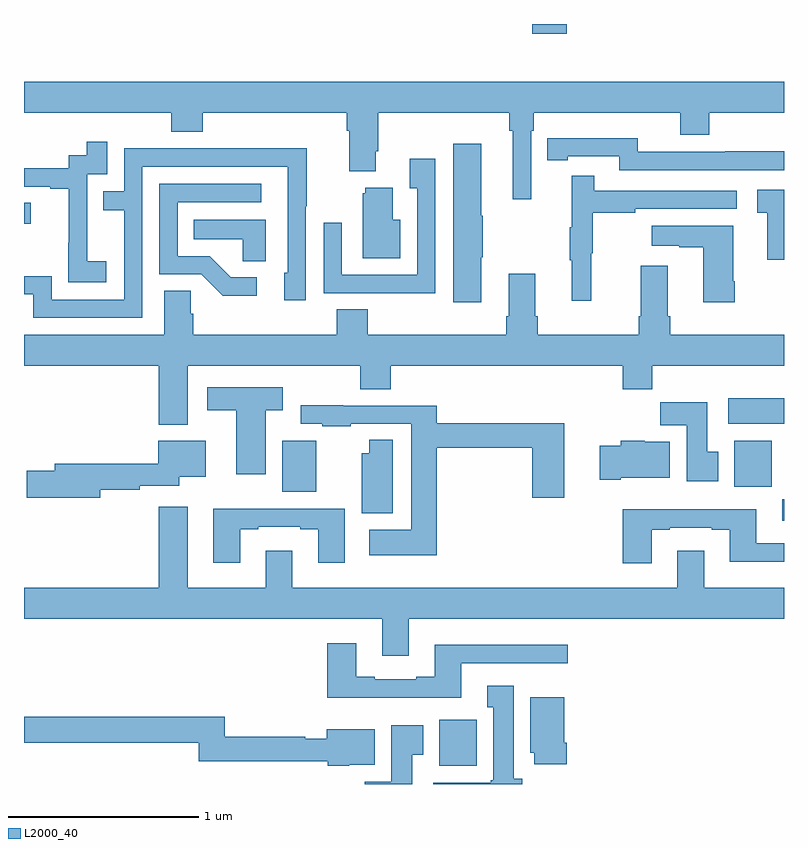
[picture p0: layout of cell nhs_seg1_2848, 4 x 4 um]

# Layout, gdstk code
import gdstk
lib = gdstk.Library(unit=1e-6, precision=1e-09)
def R(c, l, rs):  # rectangles x0, y0, x1, y1
    for r in rs: c.add(gdstk.rectangle(r[:2], r[2:], *l))
def P(c, l, *ps):  # polygons
    for p in ps: c.add(gdstk.Polygon(p, *l))
L2000_40 = (2000, 40)

nhs_seg1_2848 = lib.new_cell('nhs_seg1_2848')
R(nhs_seg1_2848, L2000_40, [(267.185,548.294,267.382,548.536), (268.991,549.585,269,549.698), (266.36,549.737,266.539,550.006), (268.739,549.764,268.936,550.006), (268.707,550.094,269,550.228), (265,551.147,265.036,551.257), (267.674,552.147,267.857,552.199)])
P(nhs_seg1_2848, L2000_40, [(267.669,551.636),(267.683,551.636),(267.683,551.732),(268.454,551.732),(268.454,551.615),(268.607,551.615),(268.607,551.732),(269,551.732),(269,551.896),(265,551.896),(265,551.732),(265.775,551.732),(265.775,551.633),(265.94,551.633),(265.94,551.732),(266.699,551.732),(266.699,551.636),(266.711,551.636),(266.711,551.423),(266.851,551.423),(266.851,551.53),(266.864,551.53),(266.864,551.732),(267.553,551.732),(267.553,551.636),(267.572,551.636),(267.572,551.277),(267.669,551.277)],
  [(269,551.528),(268.69,551.528),(268.69,551.526),(268.23,551.526),(268.23,551.599),(267.862,551.599),(267.862,551.598),(267.754,551.598),(267.754,551.482),(267.862,551.482),(267.862,551.502),(268.134,551.502),(268.134,551.43),(269,551.43)],
  [(265.432,550.951),(265.334,550.951),(265.334,551.18),(265.332,551.18),(265.332,551.409),(265.437,551.409),(265.437,551.578),(265.329,551.578),(265.329,551.508),(265.236,551.508),(265.236,551.439),(265,551.439),(265,551.343),(265.139,551.343),(265.139,551.331),(265.235,551.331),(265.235,551.047),(265.234,551.047),(265.234,550.841),(265.432,550.841)],
  [(267.406,550.972),(267.414,550.972),(267.414,551.189),(267.406,551.189),(267.406,551.569),(267.26,551.569),(267.26,550.734),(267.406,550.734)],
  [(265.623,551.448),(266.388,551.448),(266.388,550.89),(266.369,550.89),(266.369,550.746),(266.484,550.746),(266.484,551.239),(266.487,551.239),(266.487,551.546),(266.023,551.546),(266.023,551.544),(265.527,551.544),(265.527,551.319),(265.417,551.319),(265.417,551.218),(265.527,551.218),(265.527,550.749),(265.146,550.749),(265.146,550.872),(265,550.872),(265,550.776),(265.049,550.776),(265.049,550.653),(265.623,550.653)],
  [(267.165,551.491),(267.029,551.491),(267.029,551.335),(267.069,551.335),(267.069,550.878),(266.673,550.878),(266.673,551.152),(266.577,551.152),(266.577,550.782),(266.893,550.782),(266.893,550.781),(267.165,550.781)],
  [(267.986,550.992),(267.994,550.992),(267.994,551.206),(268.217,551.206),(268.217,551.226),(268.75,551.226),(268.75,551.322),(268.001,551.322),(268.001,551.401),(267.884,551.401),(267.884,551.129),(267.873,551.129),(267.873,550.955),(267.884,550.955),(267.884,550.743),(267.986,550.743)],
  [(266.224,550.866),(266.089,550.866),(265.978,550.977),(265.809,550.977),(265.809,551.262),(266.248,551.262),(266.248,551.358),(265.713,551.358),(265.713,550.881),(265.932,550.881),(266.045,550.769),(266.224,550.769)],
  [(266.98,551.17),(266.941,551.17),(266.941,551.338),(266.795,551.338),(266.795,551.307),(266.783,551.307),(266.783,550.967),(266.98,550.967)],
  [(269,551.326),(268.86,551.326),(268.86,551.205),(268.913,551.205),(268.913,550.959),(269,550.959)],
  [(266.272,551.17),(265.894,551.17),(265.894,551.066),(266.151,551.066),(266.151,550.951),(266.272,550.951)],
  [(268.74,550.846),(268.732,550.846),(268.732,551.137),(268.305,551.137),(268.305,551.033),(268.448,551.033),(268.448,551.023),(268.574,551.023),(268.574,550.734),(268.74,550.734)],
  [(265.861,550.4),(266.77,550.4),(266.77,550.276),(266.93,550.276),(266.93,550.4),(268.151,550.4),(268.151,550.276),(268.307,550.276),(268.307,550.4),(269,550.4),(269,550.564),(268.4,550.564),(268.4,550.66),(268.387,550.66),(268.387,550.927),(268.247,550.927),(268.247,550.66),(268.235,550.66),(268.235,550.564),(267.704,550.564),(267.704,550.66),(267.691,550.66),(267.691,550.885),(267.551,550.885),(267.551,550.66),(267.539,550.66),(267.539,550.564),(266.81,550.564),(266.81,550.697),(266.645,550.697),(266.645,550.564),(265.892,550.564),(265.892,550.673),(265.878,550.673),(265.878,550.796),(265.739,550.796),(265.739,550.564),(265,550.564),(265,550.4),(265.709,550.4),(265.709,550.091),(265.861,550.091)],
  [(266.272,550.166),(266.362,550.166),(266.362,550.288),(265.965,550.288),(265.965,550.166),(266.117,550.166),(266.117,549.828),(266.272,549.828)],
  [(268.654,549.948),(268.597,549.948),(268.597,550.207),(268.348,550.207),(268.348,550.088),(268.487,550.088),(268.487,549.792),(268.654,549.792)],
  [(267.173,549.97),(267.674,549.97),(267.674,549.705),(267.844,549.705),(267.844,550.099),(267.173,550.099),(267.173,550.191),(266.681,550.191),(266.681,550.193),(266.457,550.193),(266.457,550.095),(266.569,550.095),(266.569,550.083),(266.72,550.083),(266.72,550.095),(267.038,550.095),(267.038,549.538),(266.817,549.538),(266.817,549.404),(267.173,549.404)],
  [(266.941,550.01),(266.816,550.01),(266.816,549.94),(266.777,549.94),(266.777,549.623),(266.941,549.623)],
  [(268.141,549.812),(268.399,549.812),(268.399,550),(268.266,550),(268.266,550.006),(268.141,550.006),(268.141,549.978),(268.029,549.978),(268.029,549.8),(268.141,549.8)],
  [(265.402,549.748),(265.61,549.748),(265.61,549.768),(265.816,549.768),(265.816,549.815),(265.957,549.815),(265.957,550.006),(265.706,550.006),(265.706,549.884),(265.163,549.884),(265.163,549.848),(265.014,549.848),(265.014,549.706),(265.402,549.706)],
  [(267.025,549.068),(269,549.068),(269,549.232),(268.579,549.232),(268.579,549.427),(268.439,549.427),(268.439,549.232),(266.413,549.232),(266.413,549.427),(266.273,549.427),(266.273,549.232),(265.861,549.232),(265.861,549.658),(265.709,549.658),(265.709,549.232),(265,549.232),(265,549.068),(266.885,549.068),(266.885,548.874),(267.025,548.874)],
  [(266.137,549.54),(266.233,549.54),(266.233,549.552),(266.453,549.552),(266.453,549.54),(266.549,549.54),(266.549,549.363),(266.689,549.363),(266.689,549.648),(266.233,549.648),(266.233,549.649),(265.997,549.649),(265.997,549.363),(266.137,549.363)],
  [(268.303,549.537),(268.399,549.537),(268.399,549.549),(268.619,549.549),(268.619,549.537),(268.715,549.537),(268.715,549.368),(269,549.368),(269,549.465),(268.855,549.465),(268.855,549.646),(268.151,549.646),(268.151,549.36),(268.303,549.36)],
  [(267.301,548.835),(267.862,548.835),(267.862,548.932),(267.161,548.932),(267.161,548.764),(267.065,548.764),(267.065,548.751),(266.845,548.751),(266.845,548.764),(266.749,548.764),(266.749,548.941),(266.597,548.941),(266.597,548.654),(267.301,548.654)],
  [(267.622,548.226),(267.577,548.226),(267.577,548.716),(267.437,548.716),(267.437,548.603),(267.47,548.603),(267.47,548.22),(267.457,548.22),(267.457,548.206),(267.153,548.206),(267.153,548.199),(267.622,548.199)],
  [(267.857,548.416),(267.844,548.416),(267.844,548.656),(267.665,548.656),(267.665,548.364),(267.686,548.364),(267.686,548.304),(267.857,548.304)],
  [(266.712,548.3),(266.845,548.3),(266.845,548.488),(266.594,548.488),(266.594,548.436),(266.48,548.436),(266.48,548.447),(266.057,548.447),(266.057,548.552),(265,548.552),(265,548.416),(265.921,548.416),(265.921,548.319),(266.598,548.319),(266.598,548.294),(266.712,548.294)],
  [(267.043,548.353),(267.1,548.353),(267.1,548.509),(266.933,548.509),(266.933,548.212),(266.794,548.212),(266.794,548.199),(267.043,548.199)])

lib.write_gds('nhs_seg1_2848.gds')
